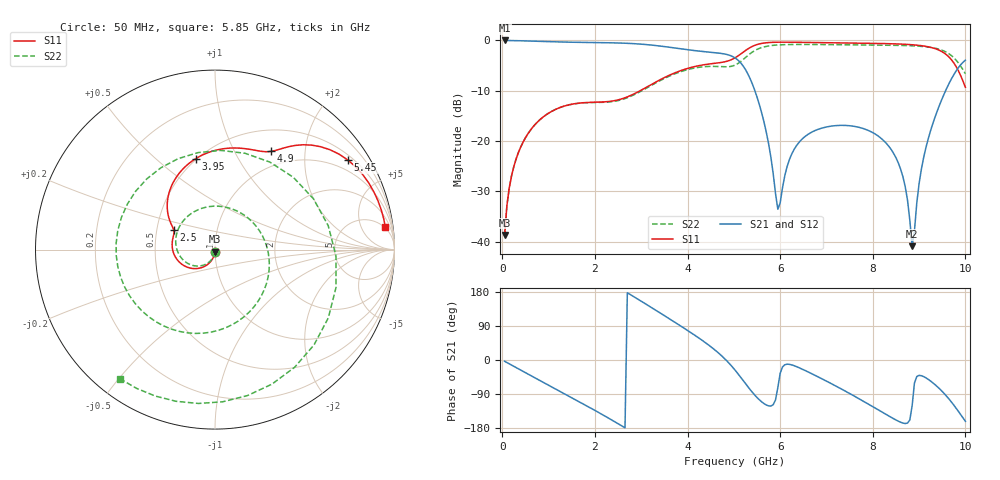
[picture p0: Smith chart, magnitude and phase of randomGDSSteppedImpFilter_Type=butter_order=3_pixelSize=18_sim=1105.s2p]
! freq	dB(S11)	phase(S11)	dB(S12)	phase(S12)
!  dB(S21)	phase(S21)	dB(S22)	phase(S22)
!S-par simulation data
#  GHz  S  DB  R 50
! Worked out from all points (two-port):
!   200 points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, 50 MHz to 10 GHz, reference 50 ohm
!   highest |S21| = -0.01 dB at 50 MHz (marker M1); lowest = -40.9 dB at 8.85 GHz (marker M2)
!   |S21| within 3 dB of the highest: start of sweep to 4.922 GHz
!   lowest |S11| = -38.6 dB at 50 MHz (marker M3), VSWR 1.02, Z = 50 - j1.17 ohm
!   |S11| at or under -10 dB: start of sweep to 2.976 GHz
!   |S22| runs from -38.6 to -0.8 dB; largest |S21 - S12| = 0
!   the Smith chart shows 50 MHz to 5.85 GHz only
!   S11 on the Smith chart (normalised r, x): 50 MHz: 1.00, -0.02; 2.5 GHz: 0.61, +0.15; 3.95 GHz: 0.49, +0.68; 4.9 GHz: 0.78, +1.42; 5.45 GHz: 0.64, +3.15; 5.85 GHz: 5, +14
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0.05  -38.63 -90.8  -0.01 -3.4  -0.01 -3.4  -38.63 -91.4
0.2  -26.90 -102.3  -0.03 -13.5  -0.03 -13.5  -26.90 -104.4
0.5  -19.34 -121.2  -0.10 -33.5  -0.10 -33.5  -19.34 -126.6
1.75  -12.38 173.4  -0.40 -116.1  -0.40 -116.1  -12.41 133.3
2.5  -11.82 154.2  -0.51 -168.0  -0.51 -168.0  -11.96 48.6
3.4  -7.85 129.4  -1.11 124.8  -1.11 124.8  -8.03 -61.2
3.95  -5.71 101.9  -1.78 82.0  -1.78 82.0  -5.93 -118.7
4.5  -4.65 74.2  -2.36 35.3  -2.36 35.3  -5.16 176.3
4.9  -4.00 60.2  -2.93 -8.9  -2.93 -8.9  -5.21 99.8
5.05  -3.33 56.0  -3.63 -30.2  -3.63 -30.2  -4.80 58.0
5.25  -2.02 47.3  -5.77 -62.0  -5.77 -62.0  -3.41 -3.0
5.45  -0.98 34.0  -9.88 -92.4  -9.88 -92.4  -2.03 -55.9
5.85  -0.38 7.4  -26.49 -117.9  -26.49 -117.9  -0.98 -126.4
5.95  -0.35 1.7  -33.54 -72.7  -33.54 -72.7  -0.90 -139.2
6.7  -0.41 -34.8  -18.14 -37.2  -18.14 -37.2  -0.81 146.3
7.5  -0.52 -67.8  -16.95 -88.3  -16.95 -88.3  -0.88 71.6
8.35  -0.65 -102.7  -21.08 -148.2  -21.08 -148.2  -0.95 -18.3
8.7  -0.77 -119.3  -29.03 -167.6  -29.03 -167.6  -1.02 -56.5
8.85  -0.86 -127.4  -40.88 -120.6  -40.88 -120.6  -1.07 -73.0
9.1  -1.11 -143.0  -23.21 -43.9  -23.21 -43.9  -1.22 -101.1
9.55  -2.56 175.8  -10.46 -89.4  -10.46 -89.4  -2.16 -158.0
10  -9.32 99.6  -3.93 -161.7  -3.93 -161.7  -6.62 132.4
